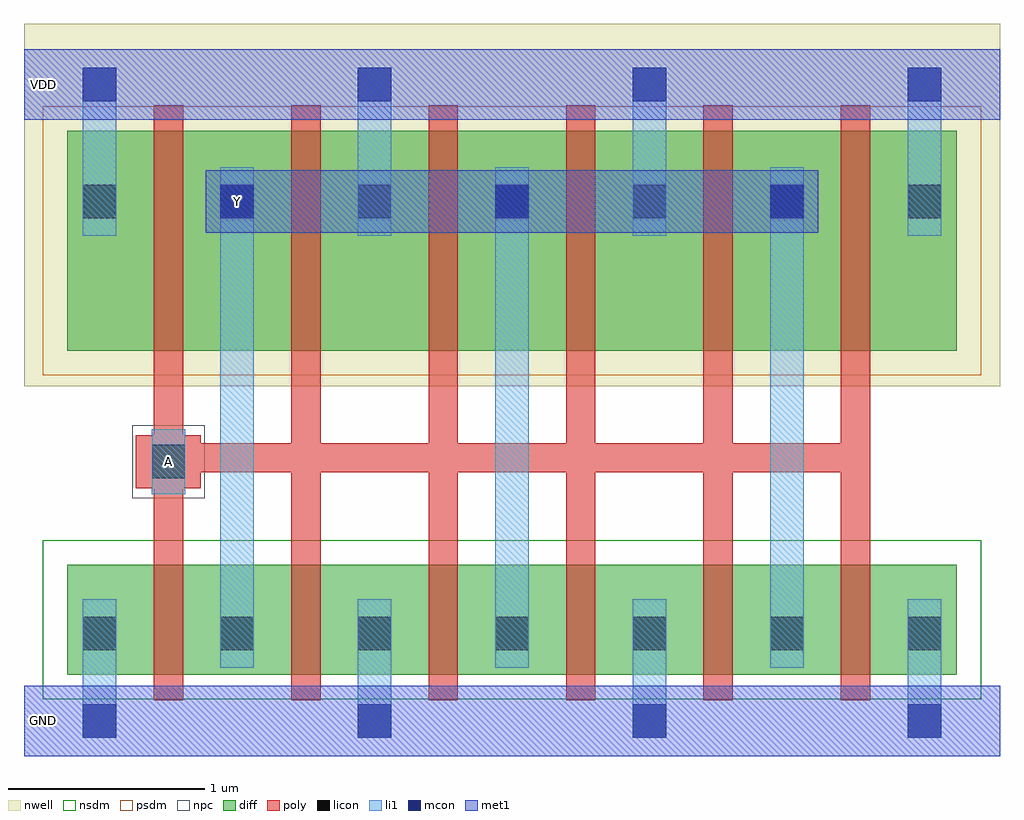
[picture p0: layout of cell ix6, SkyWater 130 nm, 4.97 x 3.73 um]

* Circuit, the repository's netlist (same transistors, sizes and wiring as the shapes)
* NGSPICE file created from ix6.ext - technology: sky130A

.subckt ix6 A Y VDD GND
X0 GND A Y VSUBS sky130_fd_pr__nfet_01v8 ad=0.2464 pd=2 as=0.154 ps=1.11 w=0.56 l=0.15
X1 VDD A Y w_0_341# sky130_fd_pr__pfet_01v8 ad=0.4928 pd=3.12 as=0.308 ps=1.67 w=1.12 l=0.15
X2 Y A VDD w_0_341# sky130_fd_pr__pfet_01v8 ad=0.308 pd=1.67 as=0.308 ps=1.67 w=1.12 l=0.15
X3 Y A VDD w_0_341# sky130_fd_pr__pfet_01v8 ad=0.308 pd=1.67 as=0.4928 ps=3.12 w=1.12 l=0.15
X4 GND A Y VSUBS sky130_fd_pr__nfet_01v8 ad=0.154 pd=1.11 as=0.154 ps=1.11 w=0.56 l=0.15
X5 GND A Y VSUBS sky130_fd_pr__nfet_01v8 ad=0.154 pd=1.11 as=0.154 ps=1.11 w=0.56 l=0.15
X6 VDD A Y w_0_341# sky130_fd_pr__pfet_01v8 ad=0.308 pd=1.67 as=0.308 ps=1.67 w=1.12 l=0.15
X7 Y A GND VSUBS sky130_fd_pr__nfet_01v8 ad=0.154 pd=1.11 as=0.154 ps=1.11 w=0.56 l=0.15
X8 Y A GND VSUBS sky130_fd_pr__nfet_01v8 ad=0.154 pd=1.11 as=0.154 ps=1.11 w=0.56 l=0.15
X9 Y A VDD w_0_341# sky130_fd_pr__pfet_01v8 ad=0.308 pd=1.67 as=0.308 ps=1.67 w=1.12 l=0.15
X10 VDD A Y w_0_341# sky130_fd_pr__pfet_01v8 ad=0.308 pd=1.67 as=0.308 ps=1.67 w=1.12 l=0.15
X11 Y A GND VSUBS sky130_fd_pr__nfet_01v8 ad=0.154 pd=1.11 as=0.2464 ps=2 w=0.56 l=0.15
.ends

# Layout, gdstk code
import gdstk
lib = gdstk.Library(unit=1e-6, precision=1e-09)
def R(c, l, rs):  # rectangles x0, y0, x1, y1
    for r in rs: c.add(gdstk.rectangle(r[:2], r[2:], *l))
def A(c, l, x, y, w, h, nx, ny, dx, dy):  # array of equal rectangles
    R(c, l, [(x+i*dx, y+j*dy, x+i*dx+w, y+j*dy+h) for i in range(nx) for j in range(ny)])
nwell = (64, 20)
diff = (65, 20)
poly = (66, 20)
licon = (66, 44)
li1 = (67, 20)
mcon = (67, 44)
met1 = (68, 20)
nsdm = (93, 44)
psdm = (94, 20)
npc = (95, 20)

ix6 = lib.new_cell('ix6')
R(ix6, nwell, [(0,1.705,4.97,3.55)])
R(ix6, diff, [(0.22,0.235,4.75,0.795), (0.22,1.885,4.75,3.005)])
A(ix6, poly, 1.36, 0.105, 0.15, 1.16, 5, 1, 0.7, 0)
A(ix6, poly, 1.36, 1.415, 0.15, 1.72, 5, 1, 0.7, 0)
R(ix6, poly, [(0.66,0.105,0.81,1.185), (0.57,1.185,0.9,1.265), (0.57,1.265,4.31,1.415), (0.57,1.415,0.9,1.455), (0.66,1.455,0.81,3.135)])
A(ix6, licon, 0.3, 0.36, 0.17, 0.17, 7, 2, 0.7, 2.2)
R(ix6, licon, [(0.65,1.235,0.82,1.405)])
A(ix6, li1, 0.3, -0.085, 0.17, 0.705, 4, 1, 1.4, 0)
A(ix6, li1, 1, 0.27, 0.17, 2.55, 3, 1, 1.4, 0)
A(ix6, li1, 0.3, 2.47, 0.17, 0.855, 4, 1, 1.4, 0)
R(ix6, li1, [(0.65,1.155,0.82,1.485)])
A(ix6, mcon, 0.3, -0.085, 0.17, 0.17, 4, 2, 1.4, 3.24)
A(ix6, mcon, 1, 2.56, 0.17, 0.17, 3, 1, 1.4, 0)
R(ix6, met1, [(0,-0.18,4.97,0.18), (0.925,2.485,4.045,2.805), (0,3.06,4.97,3.42)])
R(ix6, nsdm, [(0.095,0.11,4.875,0.92)])
R(ix6, psdm, [(0.095,1.76,4.875,3.13)])
R(ix6, npc, [(0.55,1.135,0.92,1.505)])
ix6.add(gdstk.Label('A', (0.735,1.32), layer=67, texttype=5))
ix6.add(gdstk.Label('Y', (1.085,2.645), layer=68, texttype=5))
ix6.add(gdstk.Label('VDD', (0.1,3.24), layer=68, texttype=5))
ix6.add(gdstk.Label('GND', (0.1,0), layer=68, texttype=5))

lib.write_gds('ix6.gds')
